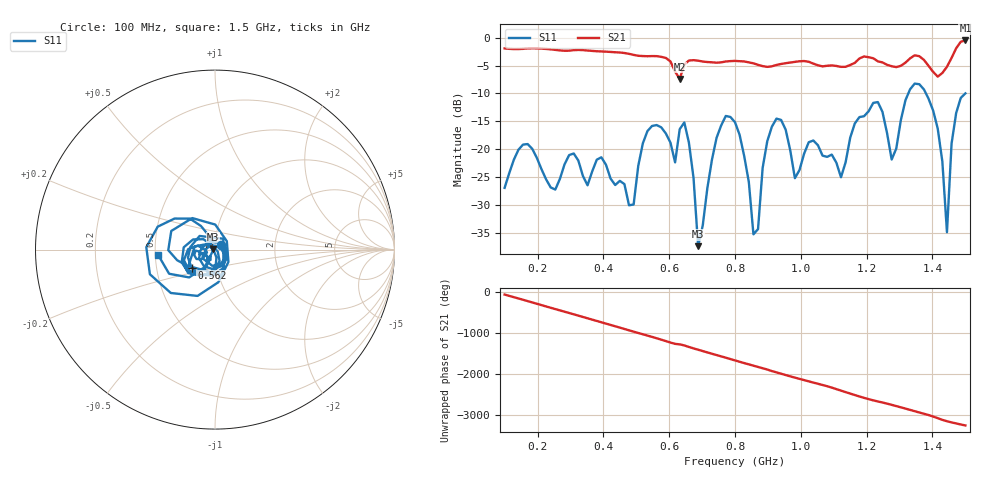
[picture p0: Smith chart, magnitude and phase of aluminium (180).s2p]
! NanoVNA-App
! Date: 2025-09-25 14:56:41
! Start: 100MHz Stop: 1,5GHz Points: 101
! S-Parameter data: F S11 S21 S12 S22
# Hz S RI R 50
!  Frequency  S11_Real  S11_Imag  S21_Real  S21_Imag  S12_Real  S12_Imag  S22_Real  S22_Imag
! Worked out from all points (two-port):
!   101 points, 100 MHz to 1.5 GHz, reference 50 ohm
!   highest |S21| = -0.49 dB at 1.5 GHz (marker M1); lowest = -7.4 dB at 632 MHz (marker M2)
!   |S21| within 3 dB of the highest: start of sweep to 580.1 MHz; 1.459 GHz to end of sweep (the widest 2 of 4)
!   lowest |S11| = -37.4 dB at 688 MHz (marker M3), VSWR 1.03, Z = 48.7 + j0.336 ohm
!   |S11| at or under -10 dB: start of sweep to 1.327 GHz; 1.38 GHz to 1.5 GHz (119.5 MHz wide, 8.3 % of centre)
!   S12 and S22 are empty: the file has one direction only
!   S11 on the Smith chart (normalised r, x): 100 MHz: 1.07, +0.06; 562 MHz: 0.76, -0.16; 1.5 GHz: 0.52, -0.04
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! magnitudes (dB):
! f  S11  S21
! 100 MHz  -26.9  -1.9
! 338 MHz  -24.8  -2.2
! 492 MHz  -29.9  -3.1
! 562 MHz  -15.7  -3.3
! 576 MHz  -16.1  -3.4
! 632 MHz  -16.4  -7.4
! 660 MHz  -18.8  -4.1
! 688 MHz  -37.4  -4.1
! 744 MHz  -17.9  -4.5
! 800 MHz  -15.2  -4.2
! 856 MHz  -35.3  -4.6
! 926 MHz  -14.5  -4.9
! 982 MHz  -25.2  -4.3
! 1.038 GHz  -18.4  -4.6
! 1.122 GHz  -25.0  -5.2
! 1.234 GHz  -11.5  -4.2
! 1.276 GHz  -21.8  -5.1
! 1.374 GHz  -9.3  -4.0
! 1.416 GHz  -16.3  -7.0
! 1.444 GHz  -34.9  -5.2
! 1.458 GHz  -19.0  -3.6
! 1.5 GHz  -10.0  -0.5
